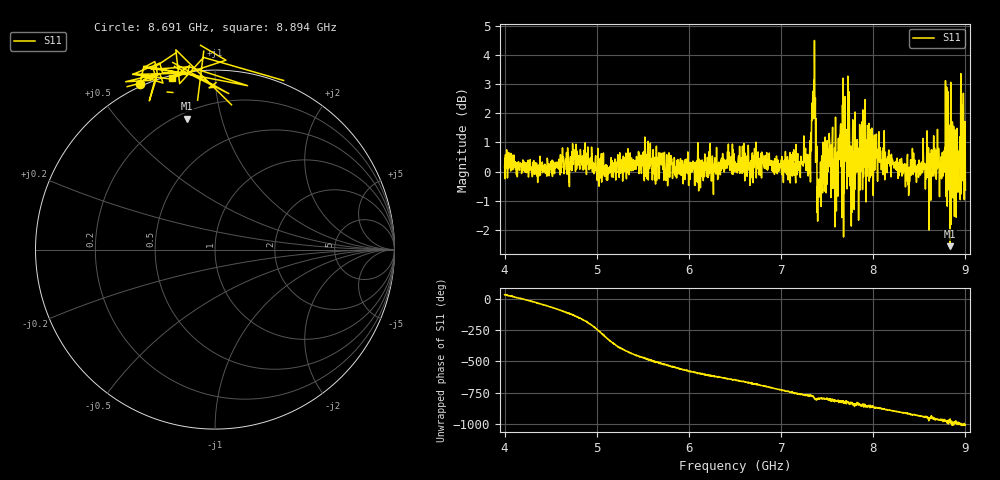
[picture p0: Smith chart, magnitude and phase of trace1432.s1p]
! Created with skrf 1.8.0 (http://scikit-rf.org).
# Hz S RI R 50.0
!freq ReS11 ImS11
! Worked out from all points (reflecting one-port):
!   1601 points, 4 GHz to 9 GHz, reference 50 ohm
!   lowest |S11| = -2.6 dB at 8.831 GHz (marker M1), VSWR 6.85, Z = 11.9 + j39.1 ohm
!   phase of S11 starts at 36 deg and turns -1043 deg over the sweep
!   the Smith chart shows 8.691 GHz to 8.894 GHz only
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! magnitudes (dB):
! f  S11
! 4 GHz  0.1
! 4.625 GHz  0.4
! 5.25 GHz  0.6
! 5.875 GHz  0.1
! 6.5 GHz  0.3
! 7.125 GHz  0.4
! 7.294 GHz  -0.1
! 7.347 GHz  2.0
! 7.362 GHz  4.5
! 7.4 GHz  -0.3
! 7.416 GHz  -0.5
! 7.503 GHz  0.6
! 7.591 GHz  1.9
! 7.65 GHz  0.9
! 7.703 GHz  1.4
! 7.719 GHz  0.4
! 7.75 GHz  0.3
! 7.775 GHz  0.9
! 7.928 GHz  1.1
! 8.375 GHz  -0.3
! 8.616 GHz  0.6
! 8.656 GHz  1.2
! 8.738 GHz  0.2
! 8.803 GHz  -1.2
! 8.831 GHz  -2.6
! 8.919 GHz  -0.7
! 8.972 GHz  0.6
! 9 GHz  -0.6
